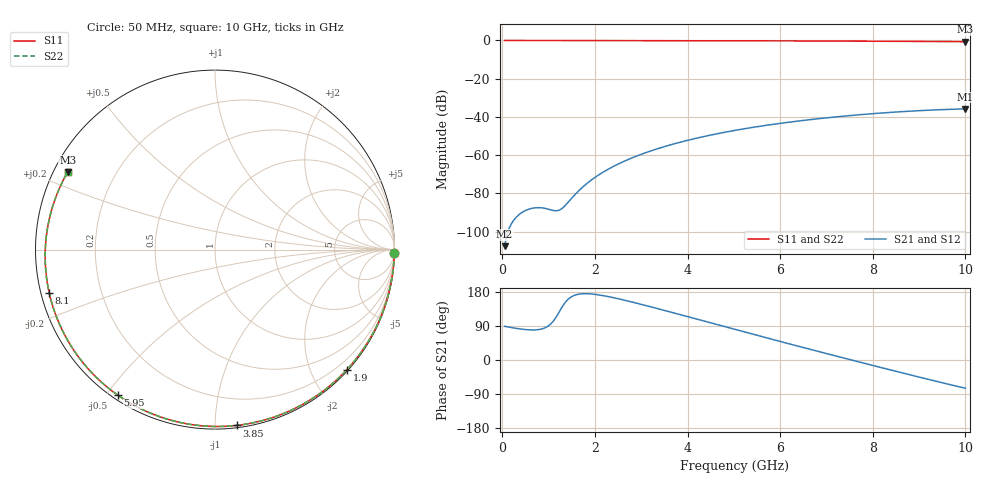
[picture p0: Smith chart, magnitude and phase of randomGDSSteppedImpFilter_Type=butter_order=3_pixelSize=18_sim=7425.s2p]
! freq	dB(S11)	phase(S11)	dB(S12)	phase(S12)
!  dB(S21)	phase(S21)	dB(S22)	phase(S22)
!S-par simulation data
#  GHz  S  DB  R 50
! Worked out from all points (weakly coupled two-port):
!   200 points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, 50 MHz to 10 GHz, reference 50 ohm
!   highest |S21| = -35.75 dB at 10 GHz (marker M1); lowest = -107.5 dB at 50 MHz (marker M2)
!   lowest |S11| = -0.7 dB at 10 GHz (marker M3), VSWR 26.67, Z = 1.99 + j12.3 ohm
!   |S11| at or under -10 dB: nowhere
!   |S22| runs from -0.7 to 0.0 dB; largest |S21 - S12| = 0
!   S11 on the Smith chart (normalised r, x): 50 MHz: open; 1.9 GHz: 0.02, -2.59; 3.85 GHz: 0.01, -1.13; 5.95 GHz: 0.02, -0.54; 8.1 GHz: 0.02, -0.13; 10 GHz: 0.04, +0.25
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0.05  -0.00 -1.1  -107.54 88.9  -107.54 88.9  -0.00 -1.1
0.8  -0.02 -18.0  -87.42 80.6  -87.42 80.6  -0.02 -18.0
1.55  -0.04 -34.7  -81.09 170.3  -81.09 170.3  -0.04 -34.7
1.6  -0.05 -35.7  -79.80 172.3  -79.80 172.3  -0.05 -35.7
1.75  -0.05 -39.0  -76.34 175.0  -76.34 175.0  -0.05 -39.0
1.9  -0.05 -42.3  -73.37 174.6  -73.37 174.6  -0.05 -42.3
2.2  -0.06 -48.7  -68.51 169.4  -68.51 169.4  -0.06 -48.7
2.55  -0.07 -56.2  -64.06 160.4  -64.06 160.4  -0.07 -56.2
2.95  -0.08 -64.5  -59.97 148.4  -59.97 148.4  -0.08 -64.5
3.4  -0.10 -73.8  -56.24 134.1  -56.24 134.1  -0.10 -73.8
3.85  -0.11 -82.9  -53.14 119.4  -53.14 119.4  -0.11 -82.9
4.45  -0.14 -94.8  -49.72 99.7  -49.72 99.7  -0.14 -94.8
5.05  -0.16 -106.4  -46.90 79.9  -46.90 79.9  -0.16 -106.4
5.95  -0.22 -123.6  -43.50 50.6  -43.50 50.6  -0.22 -123.6
6.7  -0.27 -137.9  -41.24 26.5  -41.24 26.5  -0.27 -137.9
7.4  -0.33 -151.5  -39.51 4.3  -39.51 4.3  -0.33 -151.5
8.1  -0.40 -165.4  -38.09 -17.5  -38.09 -17.5  -0.40 -165.4
8.35  -0.43 -170.6  -37.65 -25.2  -37.65 -25.2  -0.43 -170.6
8.8  -0.49 179.9  -36.97 -39.0  -36.97 -39.0  -0.49 179.9
9.2  -0.54 171.1  -36.46 -51.1  -36.46 -51.1  -0.54 171.1
9.6  -0.59 161.9  -36.06 -63.0  -36.06 -63.0  -0.59 161.9
10  -0.65 152.2  -35.75 -74.6  -35.75 -74.6  -0.65 152.2
